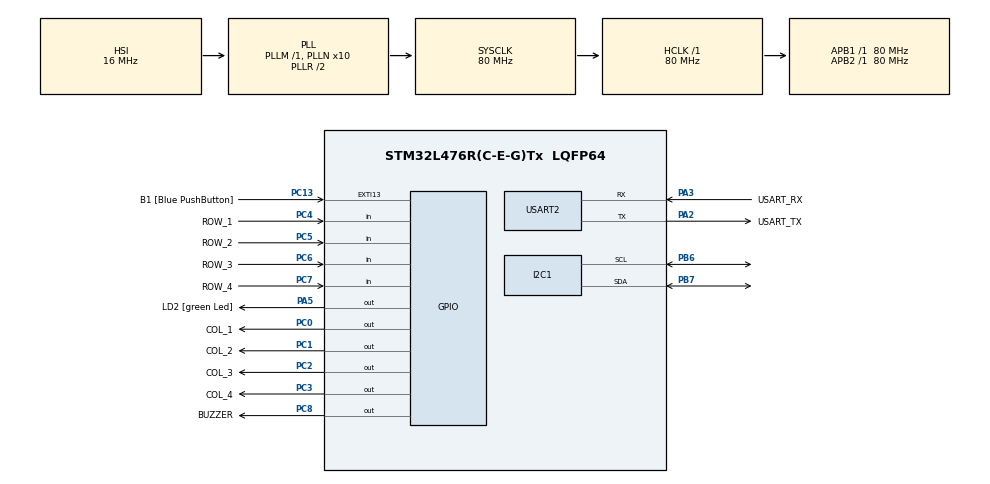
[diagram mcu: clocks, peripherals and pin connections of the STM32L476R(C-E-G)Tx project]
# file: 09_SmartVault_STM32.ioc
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Dma.I2C1_RX.0.Direction=DMA_PERIPH_TO_MEMORY
Dma.I2C1_RX.0.Instance=DMA2_Channel6
Dma.I2C1_RX.0.MemDataAlignment=DMA_MDATAALIGN_BYTE
Dma.I2C1_RX.0.MemInc=DMA_MINC_ENABLE
Dma.I2C1_RX.0.Mode=DMA_NORMAL
Dma.I2C1_RX.0.PeriphDataAlignment=DMA_PDATAALIGN_BYTE
Dma.I2C1_RX.0.PeriphInc=DMA_PINC_DISABLE
Dma.I2C1_RX.0.Priority=DMA_PRIORITY_LOW
Dma.I2C1_TX.1.Direction=DMA_MEMORY_TO_PERIPH
Dma.I2C1_TX.1.Instance=DMA2_Channel7
Dma.I2C1_TX.1.MemDataAlignment=DMA_MDATAALIGN_BYTE
Dma.I2C1_TX.1.MemInc=DMA_MINC_ENABLE
Dma.I2C1_TX.1.Mode=DMA_NORMAL
Dma.I2C1_TX.1.PeriphDataAlignment=DMA_PDATAALIGN_BYTE
Dma.I2C1_TX.1.PeriphInc=DMA_PINC_DISABLE
Dma.I2C1_TX.1.Priority=DMA_PRIORITY_LOW
Dma.Request0=I2C1_RX
Dma.Request1=I2C1_TX
Dma.Request2=USART2_TX
Dma.USART2_TX.2.Direction=DMA_MEMORY_TO_PERIPH
Dma.USART2_TX.2.Instance=DMA1_Channel7
Dma.USART2_TX.2.MemDataAlignment=DMA_MDATAALIGN_BYTE
Dma.USART2_TX.2.MemInc=DMA_MINC_ENABLE
Dma.USART2_TX.2.Mode=DMA_NORMAL
Dma.USART2_TX.2.PeriphDataAlignment=DMA_PDATAALIGN_BYTE
Dma.USART2_TX.2.PeriphInc=DMA_PINC_DISABLE
Dma.USART2_TX.2.Priority=DMA_PRIORITY_LOW
I2C1.Timing=0x10D19CE4
Mcu.Family=STM32L4
Mcu.Name=STM32L476R(C-E-G)Tx
Mcu.Package=LQFP64
NVIC.DMA1_Channel7_IRQn=true\:0\:0\:false\:false\:true\:false\:true\:true
NVIC.DMA2_Channel6_IRQn=true\:0\:0\:false\:false\:true\:false\:true\:true
NVIC.DMA2_Channel7_IRQn=true\:0\:0\:false\:false\:true\:false\:true\:true
NVIC.I2C1_ER_IRQn=true\:0\:0\:false\:false\:true\:true\:true\:true
NVIC.I2C1_EV_IRQn=true\:0\:0\:false\:false\:true\:true\:true\:true
NVIC.PriorityGroup=NVIC_PRIORITYGROUP_4
NVIC.TIM2_IRQn=true\:0\:0\:false\:false\:true\:true\:true\:true
NVIC.USART2_IRQn=true\:0\:0\:false\:false\:true\:true\:true\:true
PA13\ (JTMS-SWDIO).GPIO_Label=TMS
PA13\ (JTMS-SWDIO).Mode=Serial_Wire
PA13\ (JTMS-SWDIO).Signal=SYS_JTMS-SWDIO
PA14\ (JTCK-SWCLK).GPIO_Label=TCK
PA14\ (JTCK-SWCLK).Mode=Serial_Wire
PA14\ (JTCK-SWCLK).Signal=SYS_JTCK-SWCLK
PA2.GPIO_Label=USART_TX
PA2.GPIO_Mode=GPIO_MODE_AF_PP
PA2.GPIO_PuPd=GPIO_NOPULL
PA2.GPIO_Speed=GPIO_SPEED_FREQ_VERY_HIGH
PA2.Mode=Asynchronous
PA2.Signal=USART2_TX
PA3.GPIO_Label=USART_RX
PA3.GPIO_Mode=GPIO_MODE_AF_PP
PA3.GPIO_PuPd=GPIO_NOPULL
PA3.GPIO_Speed=GPIO_SPEED_FREQ_VERY_HIGH
PA3.Mode=Asynchronous
PA3.Signal=USART2_RX
PA5.GPIO_Label=LD2 [green Led]
PA5.GPIO_ModeDefaultOutputPP=GPIO_MODE_OUTPUT_PP
PA5.GPIO_PuPd=GPIO_NOPULL
PA5.GPIO_Speed=GPIO_SPEED_FREQ_LOW
PA5.Signal=GPIO_Output
PB3\ (JTDO-TRACESWO).GPIO_Label=SWO
PB3\ (JTDO-TRACESWO).Signal=SYS_JTDO-SWO
PB6.Mode=I2C
PB6.Signal=I2C1_SCL
PB7.Mode=I2C
PB7.Signal=I2C1_SDA
PC0.GPIO_Label=COL_1
PC0.Signal=GPIO_Output
PC1.GPIO_Label=COL_2
PC1.Signal=GPIO_Output
PC13.GPIO_Label=B1 [Blue PushButton]
PC13.GPIO_ModeDefaultEXTI=GPIO_MODE_IT_FALLING
PC13.GPIO_PuPd=GPIO_NOPULL
PC13.Signal=GPXTI13
PC14-OSC32_IN\ (PC14).Mode=LSE-External-Oscillator
PC14-OSC32_IN\ (PC14).Signal=RCC_OSC32_IN
PC15-OSC32_OUT\ (PC15).Mode=LSE-External-Oscillator
PC15-OSC32_OUT\ (PC15).Signal=RCC_OSC32_OUT
PC2.GPIO_Label=COL_3
PC2.Signal=GPIO_Output
PC3.GPIO_Label=COL_4
PC3.Signal=GPIO_Output
PC4.GPIO_Label=ROW_1
PC4.GPIO_PuPd=GPIO_PULLDOWN
PC4.Signal=GPIO_Input
PC5.GPIO_Label=ROW_2
PC5.GPIO_PuPd=GPIO_PULLDOWN
PC5.Signal=GPIO_Input
PC6.GPIO_Label=ROW_3
PC6.GPIO_PuPd=GPIO_PULLDOWN
PC6.Signal=GPIO_Input
PC7.GPIO_Label=ROW_4
PC7.GPIO_PuPd=GPIO_PULLDOWN
PC7.Signal=GPIO_Input
PC8.GPIO_Label=BUZZER
PC8.Signal=GPIO_Output
PH0-OSC_IN\ (PH0).Signal=RCC_OSC_IN
PH1-OSC_OUT\ (PH1).Signal=RCC_OSC_OUT
ProjectManager.HeapSize=0x200
ProjectManager.StackSize=0x400
ProjectManager.TargetToolchain=STM32CubeIDE
RCC.ADCFreq_Value=64000000
RCC.AHBFreq_Value=80000000
RCC.APB1Freq_Value=80000000
RCC.APB1TimFreq_Value=80000000
RCC.APB2Freq_Value=80000000
RCC.APB2TimFreq_Value=80000000
RCC.CortexFreq_Value=80000000
RCC.HCLKFreq_Value=80000000
RCC.HSE_VALUE=8000000
RCC.HSI_VALUE=16000000
RCC.MSI_VALUE=4000000
RCC.PLLN=10
RCC.PLLSourceVirtual=RCC_PLLSOURCE_HSI
RCC.PREFETCH_ENABLE=1
RCC.SYSCLKFreq_VALUE=80000000
RCC.SYSCLKSource=RCC_SYSCLKSOURCE_PLLCLK
RCC.USBFreq_Value=64000000
RCC.VCOOutputFreq_Value=160000000
TIM2.Period=4999
TIM2.Prescaler=79
USART2.VirtualMode-Asynchronous=VM_ASYNC
VP_TIM2_VS_ClockSourceINT.Mode=Internal
board=NUCLEO-L476RG

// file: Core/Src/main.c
/* USER CODE BEGIN Header */
/**
  ******************************************************************************
  * @file           : main.c
  * @brief          : Main program body
  ******************************************************************************
  * @attention
  *
  * Copyright (c) 2026 STMicroelectronics.
  * All rights reserved.
  *
  * This software is licensed under terms that can be found in the LICENSE file
  * in the root directory of this software component.
  * If no LICENSE file comes with this software, it is provided AS-IS.
  *
  ******************************************************************************
  */
/* USER CODE END Header */
#include "main.h"

/* USER CODE BEGIN Includes */
#include <string.h>
#include <stdio.h>
/* USER CODE END Includes */

/* USER CODE BEGIN PTD */
typedef enum {
	STATE_DISARMED,
	STATE_ARMED,
	STATE_ALARM,
	STATE_DISARMING
} SystemState_t;

SystemState_t currentState = STATE_DISARMED;

// Variables to hold the security PIN
char saved_pin[5] = "0000";		// The 4-digit PIN (plus null terminator)
char entered_pin[5] = "";		// What the user is currently typing
uint8_t pin_index = 0;			// Keeps track of how many digits were typed
/* USER CODE END PTD */

I2C_HandleTypeDef hi2c1;
DMA_HandleTypeDef hdma_i2c1_rx;
DMA_HandleTypeDef hdma_i2c1_tx;

TIM_HandleTypeDef htim2;

UART_HandleTypeDef huart2;
DMA_HandleTypeDef hdma_usart2_tx;

/* USER CODE BEGIN PV */
volatile char new_key = '\0';
uint8_t i2c_rx_buffer[6];	// Holds X, Y and Z accelerometer bytes
/* USER CODE END PV */

void SystemClock_Config(void);
static void MX_GPIO_Init(void);
static void MX_DMA_Init(void);
static void MX_I2C1_Init(void);
static void MX_USART2_UART_Init(void);
static void MX_TIM2_Init(void);

int main(void)
{

  /* MCU Configuration--------------------------------------------------------*/

  /* Reset of all peripherals, Initializes the Flash interface and the Systick. */
  HAL_Init();

  /* Configure the system clock */
  SystemClock_Config();

  /* Initialize all configured peripherals */
  MX_GPIO_Init();
  MX_DMA_Init();
  MX_I2C1_Init();
  MX_USART2_UART_Init();
  MX_TIM2_Init();
  /* USER CODE BEGIN 2 */
  // Start the 5ms hardware timer to scan the keypad in the background
  HAL_TIM_Base_Start_IT(&htim2);

  // Wake up the MPU9250 (Write 0x00 to register 0x6B)
  // Note: AD0 is wired to 3.3V, so the address is 0x69 (shifted left by 1)
  uint8_t wake_data = 0x00;
  HAL_I2C_Mem_Write(&hi2c1, (0x69 << 1), 0x6B, 1, &wake_data, 1, 100);

  // Start the continuous DMA read of the 6 accelerometer registers (starting at 0x3B)
  // This will run silently in the background forever!
  HAL_I2C_Mem_Read_DMA(&hi2c1, (0x69 << 1), 0x3B, 1, i2c_rx_buffer, 6);
  /* USER CODE END 2 */

  /* Infinite loop */
  /* USER CODE BEGIN WHILE */
  while (1)
  {
	  // 1. Check if the background interrupt handed us a new key
	  char current_key = '\0';
	  if (new_key != '\0')
	  {
		  current_key = new_key;
		  new_key = '\0';	// Clear the global flag so we don't read it twice
	  }

	  // 2. Security State Machine
	  switch (currentState)
	  {
	  	  case STATE_DISARMED:
	  		  // Buzzer OFF
	  		  HAL_GPIO_WritePin(GPIOC, BUZZER_Pin, GPIO_PIN_RESET);

	  		  if (current_key != '\0')
	  		  {
	  			  // print every key pressed
	  			  static char key_msg[30];
	  			  sprintf(key_msg, "[DISARMED] Key: %c\r\n", current_key);
	  			  HAL_UART_Transmit_DMA(&huart2, (uint8_t*)key_msg, strlen(key_msg));

	  			  if (current_key == '*')
	  			  {
	  				  // Star button clears everything so you can start over
	  				  pin_index = 0;
	  				  memset(entered_pin, 0, sizeof(entered_pin));
	  			  }
	  			  else if (current_key == '#')
	  			  {
	  				  if (pin_index == 4)
	  				  {
	  					  // Save the new PIN and ARM the system
	  					  strcpy(saved_pin, entered_pin);
	  					  pin_index = 0;
	  					  memset(entered_pin, 0, sizeof(entered_pin));

	  					  static char arm_msg[] = "\r\n>>> SYSTEM ARMED <<<\r\n";
	  					  HAL_UART_Transmit_DMA(&huart2, (uint8_t*)arm_msg, strlen(arm_msg));

	  					  // Force wake the IMU every single time we arm it!
                          // This guarantees it works even if it lost power and rebooted while disarmed.
	  					  uint8_t wake_data = 0x00;
	  					  HAL_I2C_Mem_Write(&hi2c1, (0x69 << 1), 0x6B, 1, &wake_data, 1, 100);

	  					  currentState = STATE_ARMED;
	  				  }
	  			  }
	  			  else
	  			  {
	  				  // It's a number so we add it to our array if we have space
	  				  if (pin_index < 4)
	  				  {
	  					  entered_pin[pin_index] = current_key;
	  					  pin_index++;
	  					  entered_pin[pin_index] = '\0';	// Keep the string null-terminated
	  				  }
	  			  }
	  		  }
	  		  break;

	  	  case STATE_ARMED:
	  	  {
	  		  // DMA trigger (runs 20 times per second)
	  		  static uint32_t last_imu_read = 0;
	  		  if (HAL_GetTick() - last_imu_read > 50)
	  		  {
	  			  // Only trigger DMA if the I2C peripheral is completely healthy
	  			  if (HAL_I2C_GetState(&hi2c1) == HAL_I2C_STATE_READY)
	  			  {
		  			  // If a wire jiggles and fails, it just tries again 50ms later
		  			  HAL_I2C_Mem_Read_DMA(&hi2c1, (0x69 << 1), 0x3B, 1, i2c_rx_buffer, 6);
		  			  last_imu_read = HAL_GetTick();
	  			  }
	  		  }

	  		  // 250ms UART print
	  		  static uint32_t last_print = 0;
	  		  if (HAL_GetTick() - last_print > 250)
	  		  {
	  			  // Re-calculate z_axis here ONLY for the printout
	  			  int16_t z_axis_print = (i2c_rx_buffer[4] << 8) | i2c_rx_buffer[5];
	  			  static char debug_msg[50];
	  			  sprintf(debug_msg, "Z-Axis: %d\r\n", z_axis_print);
	  			  HAL_UART_Transmit_DMA(&huart2, (uint8_t*)debug_msg, strlen(debug_msg));
	  			  last_print = HAL_GetTick();
	  		  }
	  		  break;
	  	  }

	  	  case STATE_ALARM:
	  		  // Sound the siren
	  		  HAL_GPIO_WritePin(GPIOC, BUZZER_Pin, GPIO_PIN_SET);

	  		  // Clear out any old keypad data so the user starts with a clean slate
	  		  pin_index = 0;
	  		  memset(entered_pin, 0, sizeof(entered_pin));

	  		  static char alarm_msg[] = "\r\n!!! MOVEMENT DETECTED - ALARM !!!\r\n";
	  		  HAL_UART_Transmit_DMA(&huart2, (uint8_t*)alarm_msg, strlen(alarm_msg));

	  		  currentState = STATE_DISARMING;
	  		  break;

	  	  case STATE_DISARMING:
	  		  // Buzzer is screaming. The user must type the exact PIN to shut it off
	  		  if (current_key != '\0')
	  		  {
	  			  static char panic_msg[30];
	  			  sprintf(panic_msg, "[DISARMING] Key: %c\r\n", current_key);

	  			  if (current_key == '*')
	  			  {
	  				  pin_index = 0;
	  				  memset(entered_pin, 0, sizeof(entered_pin));
	  			  }
	  			  else if (current_key == '#')
	  			  {
	  				  // They pressed enter. We use strcmp (String Compare) to check the password!
	  				  if (strcmp(entered_pin, saved_pin) == 0)
	  				  {
	  					  // Success
	  					  HAL_GPIO_WritePin(GPIOC, BUZZER_Pin, GPIO_PIN_RESET);

	  					  // Clear entry for the next time
	  					  pin_index = 0;
	  					  memset(entered_pin, 0, sizeof(entered_pin));

	  					  static char succ_msg[] = "\r\n>>> DISARMED SUCCESS <<<\r\n";
	  					  HAL_UART_Transmit_DMA(&huart2, (uint8_t*)succ_msg, strlen(succ_msg));
	  					  currentState = STATE_DISARMED;
	  				  }
	  				  else
	  				  {
	  					  // Wrong password
	  					  pin_index = 0;
	  					  memset(entered_pin, 0, sizeof(entered_pin));

	  					  static char err_msg[] = "\r\n>>> WRONG PIN <<<\r\n";
	  					  HAL_UART_Transmit_DMA(&huart2, (uint8_t*)err_msg, strlen(err_msg));
	  				  }
	  			  }
	  			  else
	  			  {
	  				  // Store the numbers as user type them
	  				  if (pin_index < 4)
	  				  {
	  					  entered_pin[pin_index] = current_key;
	  					  pin_index++;
	  					  entered_pin[pin_index] = '\0';
	  				  }
	  			  }
	  		  }
	  		  break;
	  }
    /* USER CODE END WHILE */

  }
}

void SystemClock_Config(void)
{
  RCC_OscInitTypeDef RCC_OscInitStruct = {0};
  RCC_ClkInitTypeDef RCC_ClkInitStruct = {0};

  /** Configure the main internal regulator output voltage
  */
  if (HAL_PWREx_ControlVoltageScaling(PWR_REGULATOR_VOLTAGE_SCALE1) != HAL_OK)
  {
    Error_Handler();
  }

  /** Initializes the RCC Oscillators according to the specified parameters
  * in the RCC_OscInitTypeDef structure.
  */
  RCC_OscInitStruct.OscillatorType = RCC_OSCILLATORTYPE_HSI;
  RCC_OscInitStruct.HSIState = RCC_HSI_ON;
  RCC_OscInitStruct.HSICalibrationValue = RCC_HSICALIBRATION_DEFAULT;
  RCC_OscInitStruct.PLL.PLLState = RCC_PLL_ON;
  RCC_OscInitStruct.PLL.PLLSource = RCC_PLLSOURCE_HSI;
  RCC_OscInitStruct.PLL.PLLM = 1;
  RCC_OscInitStruct.PLL.PLLN = 10;
  RCC_OscInitStruct.PLL.PLLP = RCC_PLLP_DIV7;
  RCC_OscInitStruct.PLL.PLLQ = RCC_PLLQ_DIV2;
  RCC_OscInitStruct.PLL.PLLR = RCC_PLLR_DIV2;
  if (HAL_RCC_OscConfig(&RCC_OscInitStruct) != HAL_OK)
  {
    Error_Handler();
  }

  /** Initializes the CPU, AHB and APB buses clocks
  */
  RCC_ClkInitStruct.ClockType = RCC_CLOCKTYPE_HCLK|RCC_CLOCKTYPE_SYSCLK
                              |RCC_CLOCKTYPE_PCLK1|RCC_CLOCKTYPE_PCLK2;
  RCC_ClkInitStruct.SYSCLKSource = RCC_SYSCLKSOURCE_PLLCLK;
  RCC_ClkInitStruct.AHBCLKDivider = RCC_SYSCLK_DIV1;
  RCC_ClkInitStruct.APB1CLKDivider = RCC_HCLK_DIV1;
  RCC_ClkInitStruct.APB2CLKDivider = RCC_HCLK_DIV1;

  if (HAL_RCC_ClockConfig(&RCC_ClkInitStruct, FLASH_LATENCY_4) != HAL_OK)
  {
    Error_Handler();
  }
}

static void MX_I2C1_Init(void)
{

  hi2c1.Instance = I2C1;
  hi2c1.Init.Timing = 0x10D19CE4;
  hi2c1.Init.OwnAddress1 = 0;
  hi2c1.Init.AddressingMode = I2C_ADDRESSINGMODE_7BIT;
  hi2c1.Init.DualAddressMode = I2C_DUALADDRESS_DISABLE;
  hi2c1.Init.OwnAddress2 = 0;
  hi2c1.Init.OwnAddress2Masks = I2C_OA2_NOMASK;
  hi2c1.Init.GeneralCallMode = I2C_GENERALCALL_DISABLE;
  hi2c1.Init.NoStretchMode = I2C_NOSTRETCH_DISABLE;
  if (HAL_I2C_Init(&hi2c1) != HAL_OK)
  {
    Error_Handler();
  }

  /** Configure Analogue filter
  */
  if (HAL_I2CEx_ConfigAnalogFilter(&hi2c1, I2C_ANALOGFILTER_ENABLE) != HAL_OK)
  {
    Error_Handler();
  }

  /** Configure Digital filter
  */
  if (HAL_I2CEx_ConfigDigitalFilter(&hi2c1, 0) != HAL_OK)
  {
    Error_Handler();
  }

}

static void MX_TIM2_Init(void)
{

  TIM_ClockConfigTypeDef sClockSourceConfig = {0};
  TIM_MasterConfigTypeDef sMasterConfig = {0};

  htim2.Instance = TIM2;
  htim2.Init.Prescaler = 79;
  htim2.Init.CounterMode = TIM_COUNTERMODE_UP;
  htim2.Init.Period = 4999;
  htim2.Init.ClockDivision = TIM_CLOCKDIVISION_DIV1;
  htim2.Init.AutoReloadPreload = TIM_AUTORELOAD_PRELOAD_DISABLE;
  if (HAL_TIM_Base_Init(&htim2) != HAL_OK)
  {
    Error_Handler();
  }
  sClockSourceConfig.ClockSource = TIM_CLOCKSOURCE_INTERNAL;
  if (HAL_TIM_ConfigClockSource(&htim2, &sClockSourceConfig) != HAL_OK)
  {
    Error_Handler();
  }
  sMasterConfig.MasterOutputTrigger = TIM_TRGO_RESET;
  sMasterConfig.MasterSlaveMode = TIM_MASTERSLAVEMODE_DISABLE;
  if (HAL_TIMEx_MasterConfigSynchronization(&htim2, &sMasterConfig) != HAL_OK)
  {
    Error_Handler();
  }

}

static void MX_USART2_UART_Init(void)
{

  huart2.Instance = USART2;
  huart2.Init.BaudRate = 115200;
  huart2.Init.WordLength = UART_WORDLENGTH_8B;
  huart2.Init.StopBits = UART_STOPBITS_1;
  huart2.Init.Parity = UART_PARITY_NONE;
  huart2.Init.Mode = UART_MODE_TX_RX;
  huart2.Init.HwFlowCtl = UART_HWCONTROL_NONE;
  huart2.Init.OverSampling = UART_OVERSAMPLING_16;
  huart2.Init.OneBitSampling = UART_ONE_BIT_SAMPLE_DISABLE;
  huart2.AdvancedInit.AdvFeatureInit = UART_ADVFEATURE_NO_INIT;
  if (HAL_UART_Init(&huart2) != HAL_OK)
  {
    Error_Handler();
  }

}

static void MX_DMA_Init(void)
{

  /* DMA controller clock enable */
  __HAL_RCC_DMA2_CLK_ENABLE();
  __HAL_RCC_DMA1_CLK_ENABLE();

  /* DMA interrupt init */
  /* DMA1_Channel7_IRQn interrupt configuration */
  HAL_NVIC_SetPriority(DMA1_Channel7_IRQn, 0, 0);
  HAL_NVIC_EnableIRQ(DMA1_Channel7_IRQn);
  /* DMA2_Channel6_IRQn interrupt configuration */
  HAL_NVIC_SetPriority(DMA2_Channel6_IRQn, 0, 0);
  HAL_NVIC_EnableIRQ(DMA2_Channel6_IRQn);
  /* DMA2_Channel7_IRQn interrupt configuration */
  HAL_NVIC_SetPriority(DMA2_Channel7_IRQn, 0, 0);
  HAL_NVIC_EnableIRQ(DMA2_Channel7_IRQn);

}

static void MX_GPIO_Init(void)
{
  GPIO_InitTypeDef GPIO_InitStruct = {0};

  /* GPIO Ports Clock Enable */
  __HAL_RCC_GPIOC_CLK_ENABLE();
  __HAL_RCC_GPIOH_CLK_ENABLE();
  __HAL_RCC_GPIOA_CLK_ENABLE();
  __HAL_RCC_GPIOB_CLK_ENABLE();

  /*Configure GPIO pin Output Level */
  HAL_GPIO_WritePin(GPIOC, COL_1_Pin|COL_2_Pin|COL_3_Pin|COL_4_Pin
                          |BUZZER_Pin, GPIO_PIN_RESET);

  /*Configure GPIO pin Output Level */
  HAL_GPIO_WritePin(LD2_GPIO_Port, LD2_Pin, GPIO_PIN_RESET);

  /*Configure GPIO pin : B1_Pin */
  GPIO_InitStruct.Pin = B1_Pin;
  GPIO_InitStruct.Mode = GPIO_MODE_IT_FALLING;
  GPIO_InitStruct.Pull = GPIO_NOPULL;
  HAL_GPIO_Init(B1_GPIO_Port, &GPIO_InitStruct);

  /*Configure GPIO pins : COL_1_Pin COL_2_Pin COL_3_Pin COL_4_Pin
                           BUZZER_Pin */
  GPIO_InitStruct.Pin = COL_1_Pin|COL_2_Pin|COL_3_Pin|COL_4_Pin
                          |BUZZER_Pin;
  GPIO_InitStruct.Mode = GPIO_MODE_OUTPUT_PP;
  GPIO_InitStruct.Pull = GPIO_NOPULL;
  GPIO_InitStruct.Speed = GPIO_SPEED_FREQ_LOW;
  HAL_GPIO_Init(GPIOC, &GPIO_InitStruct);

  /*Configure GPIO pin : LD2_Pin */
  GPIO_InitStruct.Pin = LD2_Pin;
  GPIO_InitStruct.Mode = GPIO_MODE_OUTPUT_PP;
  GPIO_InitStruct.Pull = GPIO_NOPULL;
  GPIO_InitStruct.Speed = GPIO_SPEED_FREQ_LOW;
  HAL_GPIO_Init(LD2_GPIO_Port, &GPIO_InitStruct);

  /*Configure GPIO pins : ROW_1_Pin ROW_2_Pin ROW_3_Pin ROW_4_Pin */
  GPIO_InitStruct.Pin = ROW_1_Pin|ROW_2_Pin|ROW_3_Pin|ROW_4_Pin;
  GPIO_InitStruct.Mode = GPIO_MODE_INPUT;
  GPIO_InitStruct.Pull = GPIO_PULLDOWN;
  HAL_GPIO_Init(GPIOC, &GPIO_InitStruct);

}

/* USER CODE BEGIN 4 */
void HAL_TIM_PeriodElapsedCallback(TIM_HandleTypeDef *htim)
{
    // Ensure we are only running this for TIM2 (the 5ms timer)
    if (htim->Instance == TIM2)
    {
        // 1. The physical layout of your 4x4 keypad
        char keypad_map[4][4] = {
            {'1', '2', '3', 'A'},
            {'4', '5', '6', 'B'},
            {'7', '8', '9', 'C'},
            {'*', '0', '#', 'D'}
        };

        // 2. Static variable remembers the column across interrupts
        static uint8_t current_col = 0;

        // 3. Turn OFF all columns first to prevent crossed signals
        HAL_GPIO_WritePin(GPIOC, COL_1_Pin | COL_2_Pin | COL_3_Pin | COL_4_Pin, GPIO_PIN_RESET);

        // 4. Turn ON just the current column
        switch (current_col)
        {
            case 0: HAL_GPIO_WritePin(GPIOC, COL_1_Pin, GPIO_PIN_SET); break;
            case 1: HAL_GPIO_WritePin(GPIOC, COL_2_Pin, GPIO_PIN_SET); break;
            case 2: HAL_GPIO_WritePin(GPIOC, COL_3_Pin, GPIO_PIN_SET); break;
            case 3: HAL_GPIO_WritePin(GPIOC, COL_4_Pin, GPIO_PIN_SET); break;
        }

        // 5. Read the rows to see if 3.3V made it through a pushed button
        uint8_t row_pressed = 255; // 255 acts as our "nothing pressed" flag

        if (HAL_GPIO_ReadPin(GPIOC, ROW_1_Pin) == GPIO_PIN_SET) row_pressed = 0;
        else if (HAL_GPIO_ReadPin(GPIOC, ROW_2_Pin) == GPIO_PIN_SET) row_pressed = 1;
        else if (HAL_GPIO_ReadPin(GPIOC, ROW_3_Pin) == GPIO_PIN_SET) row_pressed = 2;
        else if (HAL_GPIO_ReadPin(GPIOC, ROW_4_Pin) == GPIO_PIN_SET) row_pressed = 3;

        // Static variables remember their state across interrupts
        static char last_key = '\0';
        static uint8_t empty_scans = 0;

        // 6. If a row was HIGH, we found a button press!
        if (row_pressed != 255)
        {
        	char pressed_key = keypad_map[row_pressed][current_col];
        	empty_scans = 0;	// Reset our empty counter since we found a press

        	// Only send the key to the main loop if it's a NEW press
        	if (pressed_key != last_key)
        	{
        		new_key = pressed_key;
        		last_key = pressed_key;
        	}
        }
        else
        {
        	empty_scans++;
        	// If we checked all 4 columns (20ms) and found no voltage,
        	// the user definitely let go of the button
        	if (empty_scans >= 4)
        	{
        		last_key = '\0';	// Clear the memory so they can press it again
        	}
        }

        // 7. Move to the next column for the next 5ms cycle
        current_col++;
        if (current_col > 3)
        {
            current_col = 0;
        }
    }
}

// This function fires automatically the microsecond DMA finishes reading the IMU
void HAL_I2C_MemRxCpltCallback(I2C_HandleTypeDef *hi2c)
{
    if (hi2c->Instance == I2C1)
    {
        // Only check for movement if the vault is actually locked
        if (currentState == STATE_ARMED)
        {
            int16_t z_axis = (i2c_rx_buffer[4] << 8) | i2c_rx_buffer[5];

            // The sensor debounce filter
            static uint8_t motion_counter = 0;

            // Check if the board is being picked up
            if (z_axis < 12000 || z_axis > 20000)
            {
            	motion_counter++;

            	// Only trigger if we get 5 bad readings in a row
            	if (motion_counter >= 5)
            	{
            		currentState = STATE_ALARM;
            		motion_counter = 0;		// Reset the counter
            	}
            }
            else
            {
            	// Good reading resets the counter
            	motion_counter = 0;
            }
        }
    }
}
/* USER CODE END 4 */

void Error_Handler(void)
{
  __disable_irq();
  while (1)
  {
  }
}
